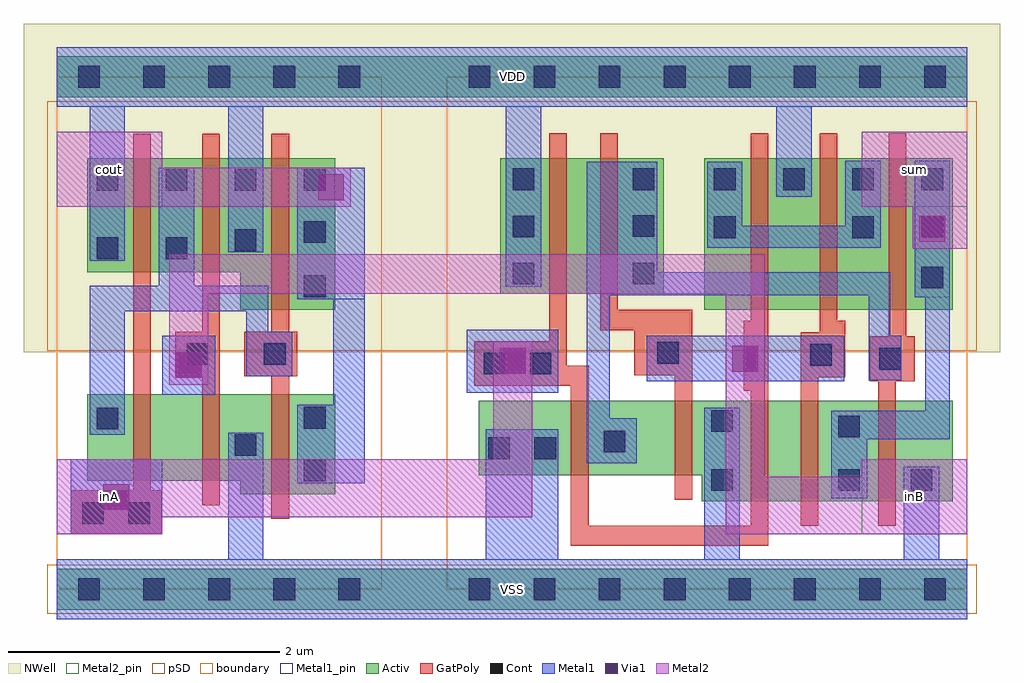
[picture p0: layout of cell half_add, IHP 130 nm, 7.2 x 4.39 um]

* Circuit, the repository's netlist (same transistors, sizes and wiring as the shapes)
** sch_path: /foss/designs/PROJECTS/cmos-pll-ihp-sg13g2/Combined Design/design_data/xschem/half_add.sch
.SUBCKT half_add inA sum inB VDD VSS cout
*.PININFO inA:I inB:I sum:O cout:O VSS:B VDD:B
x1 inA inB VDD VSS sum sg13g2_xor2_1
x2 inA inB VDD VSS cout sg13g2_and2_1
.ENDS

.SUBCKT sg13g2_xor2_1 A B VDD VSS X
*.PININFO A:I B:I X:O VDD:B VSS:B
MX0 net1 A VSS VSS sg13_lv_nmos m=1 w=550.00n l=130.00n ng=1
MX4 X B net3 VSS sg13_lv_nmos m=1 w=740.00n l=130.00n ng=1
MX6 X net1 VSS VSS sg13_lv_nmos m=1 w=740.00n l=130.00n ng=1
MX8 net3 A VSS VSS sg13_lv_nmos m=1 w=740.00n l=130.00n ng=1
MX9 net1 B VSS VSS sg13_lv_nmos m=1 w=550.00n l=130.00n ng=1
MX1 net6 A VDD VDD sg13_lv_pmos m=1 w=1.000u l=130.00n ng=1
MX2 net1 B net6 VDD sg13_lv_pmos m=1 w=1.000u l=130.00n ng=1
MX3 net5 A VDD VDD sg13_lv_pmos m=1 w=1.12e-06 l=130.00n ng=1
MX5 net5 B VDD VDD sg13_lv_pmos m=1 w=1.12e-06 l=130.00n ng=1
MX7 X net1 net5 VDD sg13_lv_pmos m=1 w=1.12e-06 l=130.00n ng=1
.ENDS

.SUBCKT sg13g2_and2_1 A B VDD VSS X
*.PININFO A:I B:I X:O VDD:B VSS:B
MX0 net4 A net2 VSS sg13_lv_nmos m=1 w=640.00n l=130.00n ng=1
MX2 X net4 VSS VSS sg13_lv_nmos m=1 w=740.00n l=130.00n ng=1
MX3 net2 B VSS VSS sg13_lv_nmos m=1 w=640.00n l=130.00n ng=1
MX1 net4 B VDD VDD sg13_lv_pmos m=1 w=840.00n l=130.00n ng=1
MX4 VDD net4 X VDD sg13_lv_pmos m=1 w=1.12e-06 l=130.00n ng=1
MX5 net4 A VDD VDD sg13_lv_pmos m=1 w=840.00n l=130.00n ng=1
.ENDS

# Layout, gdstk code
import gdstk
lib = gdstk.Library(unit=1e-6, precision=1e-09)
def R(c, l, rs):  # rectangles x0, y0, x1, y1
    for r in rs: c.add(gdstk.rectangle(r[:2], r[2:], *l))
def A(c, l, x, y, w, h, nx, ny, dx, dy):  # array of equal rectangles
    R(c, l, [(x+i*dx, y+j*dy, x+i*dx+w, y+j*dy+h) for i in range(nx) for j in range(ny)])
def P(c, l, *ps):  # polygons
    for p in ps: c.add(gdstk.Polygon(p, *l))
Activ = (1, 0)
GatPoly = (5, 0)
Cont = (6, 0)
Metal1 = (8, 0)
Metal1_pin = (8, 2)
Metal2 = (10, 0)
Metal2_pin = (10, 2)
pSD = (14, 0)
Via1 = (19, 0)
NWell = (31, 0)
boundary = (189, 4)

sg13g2_xor2_1 = lib.new_cell('sg13g2_xor2_1')
R(sg13g2_xor2_1, Activ, [(0,-0.15,3.84,0.15), (1.9,2.06,3.73,3.18), (0.395,2.18,1.6,3.18), (0,3.63,3.84,3.93)])
P(sg13g2_xor2_1, Activ, [(1.88,0.65),(1.88,0.84),(0.235,0.84),(0.235,1.39),(3.73,1.39),(3.73,0.65)])
R(sg13g2_xor2_1, GatPoly, [(3.12,1.535,3.345,1.865)])
P(sg13g2_xor2_1, GatPoly, [(2.61,0.47),(2.61,1.895),(2.75,1.895),(2.75,3.365),(2.88,3.365),(2.88,1.98),(2.94,1.98),(2.94,1.565),(2.74,1.565),(2.74,0.47)],
  [(3.18,0.47),(3.18,1.865),(3.26,1.865),(3.26,3.365),(3.39,3.365),(3.39,1.865),(3.45,1.865),(3.45,1.535),(3.31,1.535),(3.31,0.47)],
  [(1.68,0.66),(1.68,1.58),(1.38,1.58),(1.38,1.91),(1.13,1.91),(1.13,3.365),(1.26,3.365),(1.26,2.06),(1.81,2.06),(1.81,0.66)],
  [(0.915,0.32),(0.915,1.5),(0.2,1.5),(0.2,1.83),(0.755,1.83),(0.755,3.365),(0.885,3.365),(0.885,1.65),(1.045,1.65),(1.045,0.47),(2.24,0.47),(2.24,1.465),(2.19,1.465),(2.19,1.98),(2.24,1.98),(2.24,3.365),(2.37,3.365),(2.37,0.32)])
A(sg13g2_xor2_1, Cont, 0.16, -0.08, 0.16, 0.16, 8, 2, 0.48, 3.78)
A(sg13g2_xor2_1, Cont, 1.97, 2.945, 0.16, 0.16, 4, 1, 0.51, 0)
R(sg13g2_xor2_1, Cont, [(1.95,0.725,2.11,0.885), (2.885,0.725,3.045,0.885), (3.42,0.725,3.58,0.885), (0.305,0.96,0.465,1.12), (0.645,0.96,0.805,1.12), (1.155,1.01,1.315,1.17), (2.885,1.12,3.045,1.28), (1.95,1.16,2.11,1.32), (0.27,1.585,0.43,1.745), (0.61,1.585,0.77,1.745), (3.19,1.62,3.35,1.78), (2.68,1.65,2.84,1.81), (1.55,1.665,1.71,1.825), (3.5,2.22,3.66,2.38), (0.485,2.25,0.645,2.41), (1.37,2.25,1.53,2.41), (1.97,2.59,2.13,2.75), (2.99,2.59,3.15,2.75), (0.485,2.595,0.645,2.755), (3.5,2.595,3.66,2.755), (1.37,2.6,1.53,2.76), (0.485,2.945,0.645,3.105), (1.37,2.945,1.53,3.105)])
R(sg13g2_xor2_1, Metal1, [(0.145,1.45,0.82,1.915), (1.475,1.535,2.93,1.87)])
P(sg13g2_xor2_1, Metal1, [(1.92,2.52),(1.92,3.155),(2.18,3.155),(2.18,2.68),(2.94,2.68),(2.94,3.16),(3.2,3.16),(3.2,2.52)],
  [(0.435,2.23),(0.435,3.56),(0,3.56),(0,4),(3.84,4),(3.84,3.56),(2.69,3.56),(2.69,2.895),(2.43,2.895),(2.43,3.56),(0.695,3.56),(0.695,2.23)],
  [(1.03,0.93),(1.03,3.155),(1.55,3.155),(1.55,2.34),(3.27,2.34),(3.27,1.87),(3.35,1.87),(3.35,1.54),(3.11,1.54),(3.11,2.17),(1.2,2.17),(1.2,1.26),(1.4,1.26),(1.4,0.93)],
  [(0,-0.22),(0,0.22),(0.285,0.22),(0.285,1.18),(0.82,1.18),(0.82,0.22),(1.9,0.22),(1.9,1.34),(2.16,1.34),(2.16,0.22),(3.37,0.22),(3.37,0.905),(3.63,0.905),(3.63,0.22),(3.84,0.22),(3.84,-0.22)],
  [(2.835,0.67),(2.835,1.315),(3.53,1.315),(3.53,2.155),(3.45,2.155),(3.45,3.16),(3.71,3.16),(3.71,1.105),(3.1,1.105),(3.1,0.67)])
R(sg13g2_xor2_1, Metal1_pin, [(0,-0.22,3.84,0.22), (0.145,1.45,0.82,1.915), (1.475,1.535,2.93,1.87), (3.45,2.155,3.71,3.16), (0,3.56,3.84,4)])
R(sg13g2_xor2_1, pSD, [(-0.07,-0.18,3.91,0.18), (-0.07,1.76,3.91,3.6)])
R(sg13g2_xor2_1, NWell, [(-0.24,1.75,4.08,4.17)])
R(sg13g2_xor2_1, boundary, [(0,0,3.84,3.78)])
sg13g2_xor2_1.add(gdstk.Label('X', (3.505,2.635), layer=8, texttype=25))
sg13g2_xor2_1.add(gdstk.Label('VDD', (2.3,3.775), layer=8, texttype=25))
sg13g2_xor2_1.add(gdstk.Label('B', (2.255,1.725), layer=8, texttype=25))
sg13g2_xor2_1.add(gdstk.Label('A', (0.52,1.63), layer=8, texttype=25))
sg13g2_xor2_1.add(gdstk.Label('VSS', (2.09,0.02), layer=8, texttype=25))

sg13g2_and2_1 = lib.new_cell('sg13g2_and2_1')
R(sg13g2_and2_1, Activ, [(0,-0.15,2.4,0.15), (0,3.63,2.4,3.93)])
P(sg13g2_and2_1, Activ, [(1.355,0.7),(1.355,0.8),(0.225,0.8),(0.225,1.44),(2.055,1.44),(2.055,0.7)],
  [(1.355,2.06),(1.355,2.34),(0.225,2.34),(0.225,3.18),(2.055,3.18),(2.055,2.06)])
P(sg13g2_and2_1, GatPoly, [(1.585,0.52),(1.585,1.57),(1.385,1.57),(1.385,1.9),(1.585,1.9),(1.585,3.36),(1.715,3.36),(1.715,1.9),(1.775,1.9),(1.775,1.57),(1.715,1.57),(1.715,0.52)],
  [(0.105,0.41),(0.105,0.73),(0.565,0.73),(0.565,3.36),(0.695,3.36),(0.695,0.73),(0.775,0.73),(0.775,0.41)],
  [(1.075,0.62),(1.075,1.57),(0.875,1.57),(0.875,1.9),(1.075,1.9),(1.075,3.36),(1.205,3.36),(1.205,0.62)])
A(sg13g2_and2_1, Cont, 0.16, -0.08, 0.16, 0.16, 5, 1, 0.48, 0)
A(sg13g2_and2_1, Cont, 0.295, 2.94, 0.16, 0.16, 4, 1, 0.51, 0)
R(sg13g2_and2_1, Cont, [(0.19,0.48,0.35,0.64), (0.53,0.48,0.69,0.64), (1.825,0.795,1.985,0.955), (1.315,0.985,1.475,1.145), (0.295,1.18,0.455,1.34), (1.825,1.185,1.985,1.345), (0.96,1.655,1.12,1.815), (1.53,1.655,1.69,1.815), (1.825,2.155,1.985,2.315), (0.295,2.435,0.455,2.595), (0.805,2.435,0.965,2.595), (1.315,2.495,1.475,2.655), (1.825,2.555,1.985,2.715), (0.16,3.7,0.32,3.86), (0.16,3.7,0.32,3.86), (0.16,3.7,0.32,3.86), (0.64,3.7,0.8,3.86), (0.64,3.7,0.8,3.86), (1.12,3.7,1.28,3.86), (1.12,3.7,1.28,3.86), (1.6,3.7,1.76,3.86), (1.6,3.7,1.76,3.86), (2.08,3.7,2.24,3.86), (2.08,3.7,2.24,3.86)])
R(sg13g2_and2_1, Metal1, [(0.105,0.405,0.78,0.96), (0.78,1.435,1.17,1.87)])
P(sg13g2_and2_1, Metal1, [(0.245,1.14),(0.245,2.24),(0.755,2.24),(0.755,3.11),(1.015,3.11),(1.015,2.24),(1.56,2.24),(1.56,1.9),(1.74,1.9),(1.74,1.57),(1.4,1.57),(1.4,2.05),(0.505,2.05),(0.505,1.14)],
  [(1.775,0.78),(1.775,1.36),(2.04,1.36),(2.04,2.14),(1.775,2.14),(1.775,3.11),(2.275,3.11),(2.275,0.78)],
  [(0.245,2.425),(0.245,3.56),(0,3.56),(0,4),(2.4,4),(2.4,3.56),(1.525,3.56),(1.525,2.485),(1.265,2.485),(1.265,3.56),(0.505,3.56),(0.505,2.425)],
  [(0,-0.22),(0,0.22),(1.265,0.22),(1.265,1.155),(1.525,1.155),(1.525,0.22),(2.4,0.22),(2.4,-0.22)])
R(sg13g2_and2_1, Metal1_pin, [(0,-0.22,2.4,0.22), (0.105,0.405,0.78,0.96), (0.78,1.435,1.17,1.87), (1.775,2.14,2.275,3.11), (0,3.56,2.4,4)])
R(sg13g2_and2_1, pSD, [(-0.07,-0.18,2.47,0.18), (-0.07,1.76,0.55,3.6), (-0.07,1.76,2.47,3.6)])
R(sg13g2_and2_1, NWell, [(-0.24,1.75,2.64,4.17)])
R(sg13g2_and2_1, boundary, [(0,0,2.4,3.78)])
sg13g2_and2_1.add(gdstk.Label('X', (1.995,2.68), layer=8, texttype=25))
sg13g2_and2_1.add(gdstk.Label('VSS', (1.18,0), layer=8, texttype=25))
sg13g2_and2_1.add(gdstk.Label('VDD', (1.275,3.78), layer=8, texttype=25))
sg13g2_and2_1.add(gdstk.Label('B', (0.98,1.655), layer=8, texttype=25))
sg13g2_and2_1.add(gdstk.Label('A', (0.465,0.745), layer=8, texttype=25))

half_add = lib.new_cell('half_add')
R(half_add, Activ, [(-1.24,-1.02,-0.76,-0.72), (-1.24,2.76,-0.76,3.06)])
R(half_add, Metal1, [(-1.24,-1.09,-0.76,-0.65), (-1.24,2.69,-0.76,3.13)])
R(half_add, Metal1_pin, [(-3.64,-1.09,3.08,-0.65), (-3.64,2.69,3.08,3.13)])
P(half_add, Metal2, [(-3.64,1.95),(-3.64,2.505),(-2.86,2.505),(-2.86,2.24),(-1.47,2.24),(-1.47,1.95)],
  [(1.295,-0.465),(1.295,1.31),(-2.52,1.31),(-2.52,0.64),(-2.81,0.64),(-2.81,1.6),(1.585,1.6),(1.585,-0.04),(2.3,-0.04),(2.3,0.09),(3.08,0.09),(3.08,-0.465)],
  [(-3.64,-0.465),(-3.64,0.09),(-0.42,0.09),(-0.42,0.96),(-0.13,0.96),(-0.13,-0.34),(-2.86,-0.34),(-2.86,-0.465)],
  [(2.675,1.64),(2.675,1.95),(2.3,1.95),(2.3,2.505),(3.08,2.505),(3.08,1.64)])
R(half_add, Metal2_pin, [(-3.64,-0.465,-2.86,0.09), (2.3,-0.465,3.08,0.09), (-3.64,1.95,-2.86,2.505), (2.3,1.95,3.08,2.505)])
R(half_add, pSD, [(-1.17,-1.05,-0.83,-0.69), (-1.17,0.89,-0.83,2.73)])
R(half_add, Via1, [(-3.295,-0.285,-3.105,-0.095), (-2.76,0.69,-2.57,0.88), (-0.37,0.72,-0.18,0.91), (1.345,0.735,1.535,0.925), (2.725,1.695,2.915,1.885), (-1.71,2,-1.52,2.19)])
half_add.add(gdstk.Reference(sg13g2_xor2_1, (-0.76,-0.87)))
half_add.add(gdstk.Reference(sg13g2_and2_1, (-3.64,-0.87)))
half_add.add(gdstk.Label('VDD', (-0.28,2.91), layer=8, texttype=25))
half_add.add(gdstk.Label('VSS', (-0.28,-0.87), layer=8, texttype=25))
half_add.add(gdstk.Label('inA', (-3.25,-0.187), layer=10, texttype=25))
half_add.add(gdstk.Label('inB', (2.69,-0.187), layer=10, texttype=25))
half_add.add(gdstk.Label('sum', (2.69,2.228), layer=10, texttype=25))
half_add.add(gdstk.Label('cout', (-3.25,2.228), layer=10, texttype=25))

lib.write_gds('half_add.gds')
